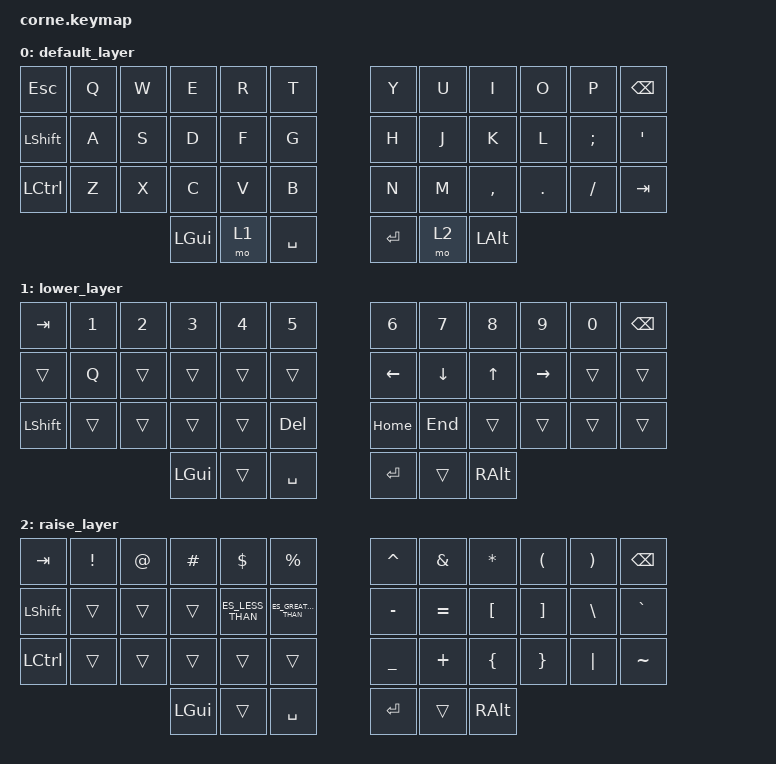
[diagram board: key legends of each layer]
/*
 * Copyright (c) 2020 The ZMK Contributors
 *
 * SPDX-License-Identifier: MIT
 */

#include <behaviors.dtsi>
#include <dt-bindings/zmk/keys.h>
#include <dt-bindings/zmk/bt.h>
#include "keys_es_latin_american.h"
/ {
        keymap {
                compatible = "zmk,keymap";

                default_layer {
// -----------------------------------------------------------------------------------------
// |  TAB |  Q  |  W  |  E  |  R  |  T  |   |  Y  |  U   |  I  |  O  |  P  | BKSP |
// | CTRL |  A  |  S  |  D  |  F  |  G  |   |  H  |  J   |  K  |  L  |  ;  |  '   |
// | SHFT |  Z  |  X  |  C  |  V  |  B  |   |  N  |  M   |  ,  |  .  |  /  | ESC  |
//                    | GUI | LWR | SPC |   | ENT | RSE  | ALT |
                        bindings = <
   &kp ESC   &kp Q &kp W &kp E &kp R &kp T   &kp Y &kp U  &kp I     &kp O   &kp P    &kp BSPC
   &kp LSHFT &kp A &kp S &kp D &kp F &kp G   &kp H &kp J  &kp K     &kp L   &kp SEMI &kp SQT
   &kp LCTRL &kp Z &kp X &kp C &kp V &kp B   &kp N &kp M  &kp COMMA &kp DOT &kp FSLH &kp TAB
                  &kp LGUI &mo 1 &kp SPACE   &kp RET &mo 2 &kp LALT
                        >;
                };
                lower_layer {
// -----------------------------------------------------------------------------------------
// |  TAB |  1  |  2  |  3  |  4  |  5  |   |  6  |  7  |  8  |  9  |  0  | BKSP |
// | BTCLR| BT1 | BT2 | BT3 | BT4 | BT5 |   | LFT | DWN |  UP | RGT |     |      |
// | SHFT |     |     |     |     |     |   |     |     |     |     |     |      |
//                    | GUI |     | SPC |   | ENT |     | ALT |
                        bindings = <
   &kp TAB    &kp N1       &kp N2       &kp N3       &kp N4       &kp N5         &kp N6   &kp N7   &kp N8 &kp N9    &kp N0 &kp BSPC
   &trans &kp Q &trans &trans &trans &trans   &kp LEFT &kp DOWN &kp UP &kp RIGHT &trans &trans
   &kp LSHFT  &trans       &trans       &trans       &trans       &kp DEL        &kp HOME  &kp END &trans &trans    &trans &trans
                                    &kp LGUI     &trans       &kp SPACE      &kp RET  &trans   &kp RALT
                        >;
                };

                raise_layer {
// -----------------------------------------------------------------------------------------
// |  TAB |  !  |  @  |  #  |  $  |  %  |   |  ^  |  &  |  *  |  (  |  )  | BKSP |
// | CTRL |     |     |     |     |     |   |  -  |  =  |  [  |  ]  |  \  |  `   |
// | SHFT |     |     |     |     |     |   |  _  |  +  |  {  |  }  | "|" |  ~   |
//                    | GUI |     | SPC |   | ENT |     | ALT |
                        bindings = <
   &kp  TAB  &kp EXCL &kp AT &kp HASH &kp DLLR &kp PRCNT   &kp CARET &kp AMPS  &kp ASTRK &kp LPAR &kp RPAR &kp BSPC
   &kp LSHFT &trans   &trans &trans   &kp ES_LESS_THAN     &kp ES_GREATER_THAN    &kp MINUS &kp EQUAL &kp LBKT  &kp RBKT &kp BSLH &kp GRAVE
   &kp LCTRL &trans   &trans &trans   &trans   &trans      &kp UNDER &kp PLUS  &kp LBRC  &kp RBRC &kp PIPE &kp TILDE
                             &kp LGUI &trans   &kp SPACE   &kp RET   &trans    &kp RALT
                        >;
                };
        };
};
